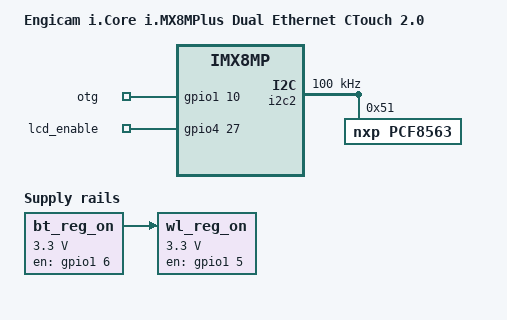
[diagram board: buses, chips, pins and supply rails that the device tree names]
// SPDX-License-Identifier: (GPL-2.0+ OR MIT)
/*
 * Copyright 2022 Engicam
 */

/dts-v1/;

#include <dt-bindings/usb/pd.h>
#include <dt-bindings/interrupt-controller/irq.h>
#include "imx8mp-icore-2e-starterkit.dts"

#define SGTL_MCLK_ON_PWM4

/ {
	model = "Engicam i.Core i.MX8MPlus Dual Ethernet CTouch 2.0";
	compatible = "engi,imx8-icore", "fsl,imx8mp";

	aliases {
		rtc1 = &snvs_rtc;
	};

	gpio_export {
		compatible = "gpio-export";
		#size-cells = <0>;

		OTG {
			gpio-export,name = "otg";
			gpio-export,output = <0>;
			gpios = <&gpio1 10 0>;
		};

		LCD_ENABLE {
			gpio-export,name = "lcd_enable";
			gpio-export,output = <1>;
			gpios = <&gpio4 27 0>;
		};
	};

	wl_reg_on: regulator-wlregon {
		compatible = "regulator-fixed";
		regulator-name = "WL_REG_ON";
		regulator-min-microvolt = <3300000>;
		regulator-max-microvolt = <3300000>;
		gpio = <&gpio1 5 GPIO_ACTIVE_HIGH>;
		enable-active-high;
		vin-supply = <&bt_reg_on>;
	};

	bt_reg_on: regulator-btregon {
		compatible = "regulator-fixed";
		regulator-name = "BT_REG_ON";
		regulator-min-microvolt = <3300000>;
		regulator-max-microvolt = <3300000>;
		gpio = <&gpio1 6 GPIO_ACTIVE_HIGH>;
		enable-active-high;
	};
};

&lvds_backlight {
	status = "disabled";
};

&panel_lvds {
	status = "disabled";
};

&pwm2 {
	status = "disabled";
};

&ecspi2 {
	status = "disabled";
};

&i2c2 {
	clock-frequency = <100000>;
	pinctrl-names = "default";
	pinctrl-0 = <&pinctrl_i2c2>;
	status = "okay";

	pcf8563: rtc@51 {
		compatible = "nxp,pcf8563";
		reg = <0x51>;
	};
};

&flexcan1 {
	status = "disabled";
};

&ldb {
	status = "disabled";
};

&ldb_phy {
	status = "disabled";
};

&mipi_csi_0 {
	status = "disabled";
};

&iomuxc {
	pinctrl-names = "default";
	pinctrl-0 = <&pinctrl_hog>;

	pinctrl_hog: hoggrp {
		fsl,pins = <
			MX8MP_IOMUXC_HDMI_DDC_SCL__HDMIMIX_HDMI_SCL	0x400001c3
			MX8MP_IOMUXC_HDMI_DDC_SDA__HDMIMIX_HDMI_SDA	0x400001c3
			MX8MP_IOMUXC_HDMI_HPD__HDMIMIX_HDMI_HPD		0x40000119
			MX8MP_IOMUXC_HDMI_CEC__HDMIMIX_HDMI_CEC		0x40000149
		//	MX8MP_IOMUXC_SAI2_MCLK__GPIO4_IO27 0x119 // LCD ENABLE
		//	MX8MP_IOMUXC_SAI2_RXC__GPIO4_IO22 0x19 // HUB RESET

						/*PIN TO BE MANAGED OR NC*/
			MX8MP_IOMUXC_NAND_DATA00__GPIO3_IO06	0x140 /* RGMII_INT */
			MX8MP_IOMUXC_UART4_TXD__GPIO5_IO29		0x140 /* UART4_TXD */
			MX8MP_IOMUXC_UART4_RXD__GPIO5_IO28		0x140 /* UART4_RXD */
			MX8MP_IOMUXC_I2C4_SDA__I2C4_SDA			0x1C2 /* I2C4_SDA */
			MX8MP_IOMUXC_I2C4_SCL__I2C4_SCL			0x1C2 /* I2C4_SCL */
			MX8MP_IOMUXC_GPIO1_IO10__GPIO1_IO10  	0x119 /* GPIO1_IO10 */
		>;
	};
};

